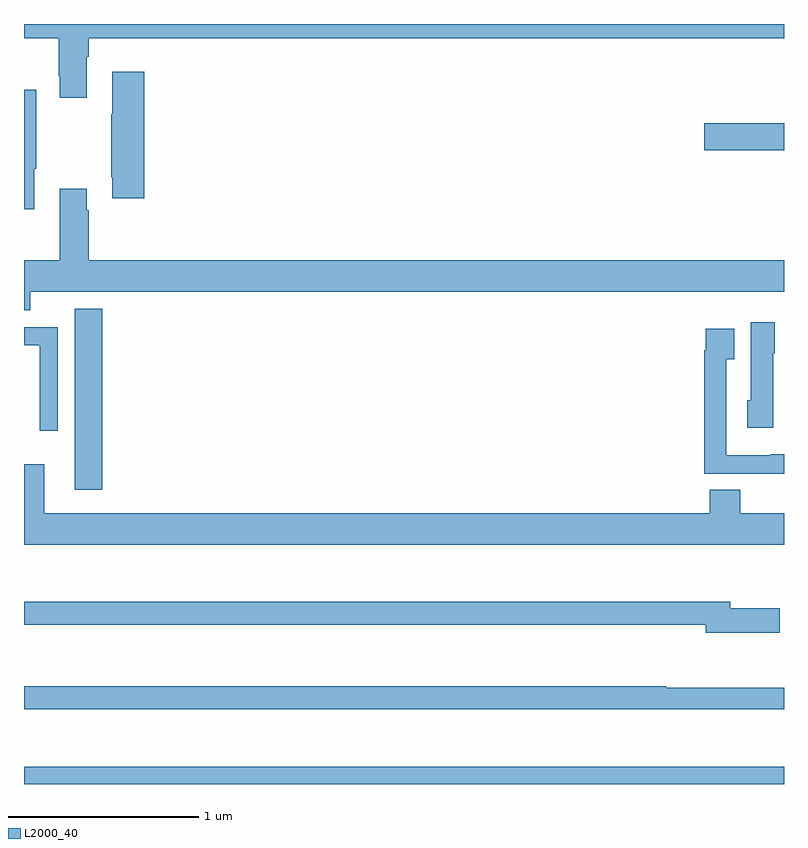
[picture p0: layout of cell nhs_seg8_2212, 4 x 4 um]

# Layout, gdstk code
import gdstk
lib = gdstk.Library(unit=1e-6, precision=1e-09)
def R(c, l, rs):  # rectangles x0, y0, x1, y1
    for r in rs: c.add(gdstk.rectangle(r[:2], r[2:], *l))
def P(c, l, *ps):  # polygons
    for p in ps: c.add(gdstk.Polygon(p, *l))
L2000_40 = (2000, 40)

nhs_seg8_2212 = lib.new_cell('nhs_seg8_2212')
R(nhs_seg8_2212, L2000_40, [(251,1121.9,255,1121.992), (251.267,1123.449,251.411,1124.401), (254.58,1125.236,255,1125.378)])
P(nhs_seg8_2212, L2000_40, [(251.329,1125.728),(251.342,1125.728),(251.342,1125.824),(255,1125.824),(255,1125.9),(251,1125.9),(251,1125.824),(251.182,1125.824),(251.182,1125.625),(251.189,1125.625),(251.189,1125.513),(251.329,1125.513)],
  [(251.633,1125.649),(251.465,1125.649),(251.465,1125.425),(251.458,1125.425),(251.458,1125.094),(251.465,1125.094),(251.465,1124.982),(251.633,1124.982)],
  [(251.053,1125.137),(251.065,1125.137),(251.065,1125.553),(251,1125.553),(251,1124.925),(251.053,1124.925)],
  [(251.032,1124.492),(255,1124.492),(255,1124.656),(251.342,1124.656),(251.342,1124.921),(251.329,1124.921),(251.329,1125.034),(251.189,1125.034),(251.189,1124.656),(251,1124.656),(251,1124.393),(251.032,1124.393)],
  [(254.944,1124.166),(254.95,1124.166),(254.95,1124.329),(254.825,1124.329),(254.825,1123.92),(254.807,1123.92),(254.807,1123.776),(254.944,1123.776)],
  [(251.178,1124.304),(251,1124.304),(251,1124.208),(251.081,1124.208),(251.081,1124.207),(251.082,1124.207),(251.082,1123.758),(251.178,1123.758)],
  [(255,1123.636),(254.931,1123.636),(254.931,1123.63),(254.697,1123.63),(254.697,1124.135),(254.737,1124.135),(254.737,1124.296),(254.589,1124.296),(254.589,1124.183),(254.581,1124.183),(254.581,1123.533),(254.831,1123.533),(254.831,1123.532),(255,1123.532)],
  [(255,1123.324),(254.769,1123.324),(254.769,1123.448),(254.609,1123.448),(254.609,1123.324),(251.107,1123.324),(251.107,1123.582),(251,1123.582),(251,1123.16),(255,1123.16)],
  [(254.977,1122.825),(254.716,1122.825),(254.716,1122.859),(251,1122.859),(251,1122.738),(254.588,1122.738),(254.588,1122.695),(254.977,1122.695)],
  [(255,1122.407),(254.38,1122.407),(254.38,1122.415),(251,1122.415),(251,1122.294),(255,1122.294)])

lib.write_gds('nhs_seg8_2212.gds')
